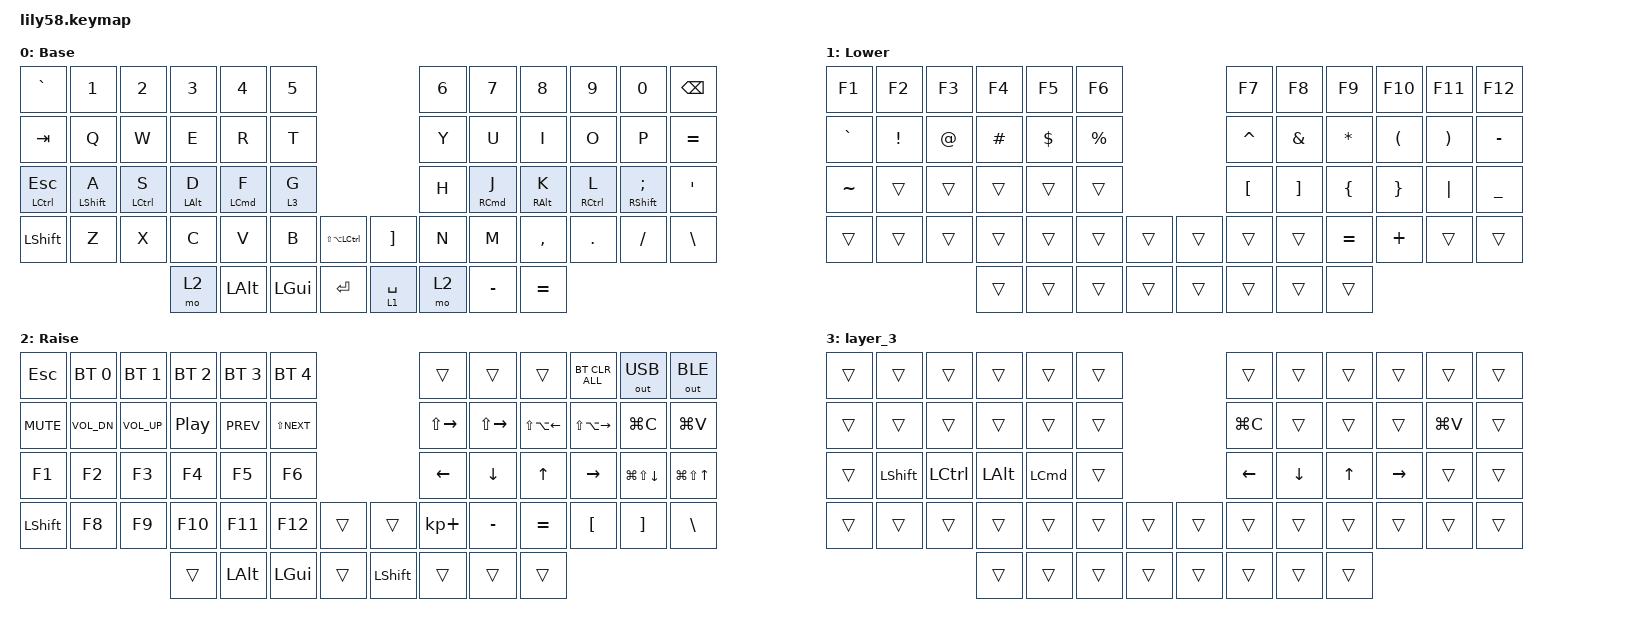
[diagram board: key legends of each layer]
/*
 * Copyright (c) 2020 The ZMK Contributors
 *
 * SPDX-License-Identifier: MIT
 */

#include <behaviors.dtsi>
#include <dt-bindings/zmk/bt.h>
#include <dt-bindings/zmk/keys.h>
#include <dt-bindings/zmk/outputs.h>

&mt {
    tapping-term-ms = <200>;
    flavor = "tap-preferred";
    quick-tap-ms = <200>;
};

/ {
    keymap {
        compatible = "zmk,keymap";

        default_layer {
            // ------------------------------------------------------------------------------------------------------------
            // |  ESC  |  1  |  2  |  3   |  4   |  5   |                   |  6   |  7    |  8    |  9   |   0   |   `   |
            // |  TAB  |  Q  |  W  |  E   |  R   |  T   |                   |  Y   |  U    |  I    |  O   |   P   |   -   |
            // |  CTRL |  A  |  S  |  D   |  F   |  G   |                   |  H   |  J    |  K    |  L   |   ;   |   '   |
            // | SHIFT |  Z  |  X  |  C   |  V   |  B   |   "["  |  |  "]"  |  N   |  M    |  ,    |  .   |   /   | SHIFT |
            //                     | ALT  | GUI  | LOWER|  SPACE |  | ENTER | RAISE| BSPC  | GUI   |

            display-name = "Base";
            bindings = <
&kp GRAVE         &kp N1            &kp N2       &kp N3          &kp N4        &kp N5                                          &kp N6  &kp N7      &kp N8           &kp N9       &kp N0                     &kp BACKSPACE
&kp TAB           &kp Q             &kp W        &kp E           &kp R         &kp T                                           &kp Y   &kp U       &kp I            &kp O        &kp P                      &kp EQUAL
&mt LCTRL ESCAPE  &mt LEFT_SHIFT A  &mt LCTRL S  &mt LEFT_ALT D  &mt LCMD F    &lt 3 G                                         &kp H   &mt RCMD J  &mt RIGHT_ALT K  &mt RCTRL L  &mt RIGHT_SHIFT SEMICOLON  &kp SQT
&kp LSHFT         &kp Z             &kp X        &kp C           &kp V         &kp B         &kp LS(LA(LCTRL))    &kp RBKT     &kp N   &kp M       &kp COMMA        &kp DOT      &kp FSLH                   &kp BACKSLASH
                                                 &mo 2           &kp LEFT_ALT  &kp LEFT_GUI  &kp RET              &lt 1 SPACE  &mo 2   &kp MINUS   &kp EQUAL
            >;
        };

        lower_layer {
            // ------------------------------------------------------------------------------------------------------------
            // | BTCLR | BT1 | BT2 |  BT3 |  BT4 |  BT5 |                   |      |       |       |      |       |       |
            // |  F1   |  F2 |  F3 |  F4  |  F5  |  F6  |                   |  F7  |  F8   |  F9   |  F10 |  F11  |  F12  |
            // |   `   |  !  |  @  |  #   |  $   |  %   |                   |  ^   |  &    |  *    |  (   |   )   |   ~   |
            // |       |     |     |      |      |      |        |  |       |      |  _    |  +    |  {   |   }   |  "|"  |
            //                     |      |      |      |        |  |       |      |       |       |

            display-name = "Lower";
            bindings = <
&kp F1     &kp F2           &kp F3       &kp F4    &kp F5      &kp F6                         &kp F7            &kp F8             &kp F9          &kp F10               &kp F11                &kp F12
&kp GRAVE  &kp EXCLAMATION  &kp AT_SIGN  &kp HASH  &kp DOLLAR  &kp PERCENT                    &kp CARET         &kp AMPERSAND      &kp ASTERISK    &kp LEFT_PARENTHESIS  &kp RIGHT_PARENTHESIS  &kp MINUS
&kp TILDE  &trans           &trans       &trans    &trans      &trans                         &kp LEFT_BRACKET  &kp RIGHT_BRACKET  &kp LEFT_BRACE  &kp RIGHT_BRACE       &kp PIPE               &kp UNDERSCORE
&trans     &trans           &trans       &trans    &trans      &trans       &trans    &trans  &trans            &trans             &kp EQUAL       &kp PLUS              &trans                 &trans
                                         &trans    &trans      &trans       &trans    &trans  &trans            &trans             &trans
            >;
        };

        raise_layer {
            // ------------------------------------------------------------------------------------------------------------
            // |       |     |     |      |      |      |                   |      |       |       |      |       |       |
            // |   `   |  1  |  2  |  3   |  4   |  5   |                   |  6   |   7   |   8   |  9   |   0   |       |
            // |   F1  |  F2 |  F3 |  F4  |  F5  |  F6  |                   |      |   <-  |   v   |  ^   |  ->   |       |
            // |   F7  |  F8 |  F9 |  F10 |  F11 |  F12 |        |  |       |  +   |   -   |   =   |  [   |   ]   |   \   |
            //                     |      |      |      |        |  |       |      |       |       |

            display-name = "Raise";
            bindings = <
&kp ESC         &bt BT_SEL 0  &bt BT_SEL 1  &bt BT_SEL 2  &bt BT_SEL 3  &bt BT_SEL 4                          &trans         &trans         &trans            &bt BT_CLR_ALL     &out OUT_USB      &out OUT_BLE
&kp C_MUTE      &kp C_VOL_DN  &kp C_VOL_UP  &kp C_PP      &kp C_PREV    &kp LS(C_NEXT)                        &kp LS(RIGHT)  &kp LS(RIGHT)  &kp LS(LA(LEFT))  &kp LS(LA(RIGHT))  &kp LG(C)         &kp LG(V)
&kp F1          &kp F2        &kp F3        &kp F4        &kp F5        &kp F6                                &kp LEFT       &kp DOWN       &kp UP_ARROW      &kp RIGHT          &kp LG(LS(DOWN))  &kp LG(LS(UP_ARROW))
&kp LEFT_SHIFT  &kp F8        &kp F9        &kp F10       &kp F11       &kp F12         &trans    &trans      &kp KP_PLUS    &kp MINUS      &kp EQUAL         &kp LBKT           &kp RBKT          &kp BSLH
                                            &trans        &kp LEFT_ALT  &kp LEFT_GUI    &trans    &kp LSHIFT  &trans         &trans         &trans
            >;
        };

        layer_3 {
            bindings = <
&trans  &trans          &trans     &trans        &trans    &trans                    &trans     &trans    &trans  &trans     &trans     &trans
&trans  &trans          &trans     &trans        &trans    &trans                    &kp LG(C)  &trans    &trans  &trans     &kp LG(V)  &trans
&trans  &kp LEFT_SHIFT  &kp LCTRL  &kp LEFT_ALT  &kp LCMD  &trans                    &kp LEFT   &kp DOWN  &kp UP  &kp RIGHT  &trans     &trans
&trans  &trans          &trans     &trans        &trans    &trans  &trans    &trans  &trans     &trans    &trans  &trans     &trans     &trans
                                   &trans        &trans    &trans  &trans    &trans  &trans     &trans    &trans
            >;
        };
    };
};
